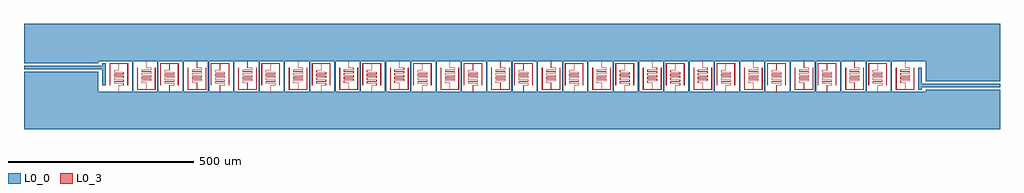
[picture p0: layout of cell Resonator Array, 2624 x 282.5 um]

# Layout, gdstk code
import gdstk
lib = gdstk.Library(unit=1e-6, precision=1e-09)
def P(c, l, *ps):  # polygons
    for p in ps: c.add(gdstk.Polygon(p, *l))
L0_0 = (0, 0)
L0_3 = (0, 3)

resonator_array = lib.new_cell('Resonator Array')
P(resonator_array, L0_0, [(-35,0),(-45,0),(-45,-7.25),(-255,-7.25),(-255,-17.25),(-45,-17.25),(-45,-60),(-35,-60)],
  [(2159,-65.25),(2369,-65.25),(2369,-55.25),(2159,-55.25),(2159,-12.5),(2149,-12.5),(2149,-72.5),(2159,-72.5)],
  [(1055.5,5),(1055.5,105),(-255,105),(-255,-1.25),(-55,-1.25),(-55,5),(38.5,5),(103.5,5),(103.5,-77.5),(38.5,-77.5),(38.5,5),(106.5,5),(171.5,5),(171.5,-77.5),(106.5,-77.5),(106.5,5),(174.5,5),(239.5,5),(239.5,-77.5),(174.5,-77.5),(174.5,5),(242.5,5),(307.5,5),(307.5,-77.5),(242.5,-77.5),(242.5,5),(310.5,5),(375.5,5),(375.5,-77.5),(310.5,-77.5),(310.5,5),(378.5,5),(443.5,5),(443.5,-77.5),(378.5,-77.5),(378.5,5),(446.5,5),(511.5,5),(511.5,-77.5),(446.5,-77.5),(446.5,5),(514.5,5),(579.5,5),(579.5,-77.5),(514.5,-77.5),(514.5,5),(582.5,5),(647.5,5),(647.5,-77.5),(582.5,-77.5),(582.5,5),(650.5,5),(715.5,5),(715.5,-77.5),(650.5,-77.5),(650.5,5),(718.5,5),(783.5,5),(783.5,-77.5),(718.5,-77.5),(718.5,5),(786.5,5),(851.5,5),(851.5,-77.5),(786.5,-77.5),(786.5,5),(854.5,5),(919.5,5),(919.5,-77.5),(854.5,-77.5),(854.5,5),(922.5,5),(987.5,5),(987.5,-77.5),(922.5,-77.5),(922.5,5),(854.5,5),(786.5,5),(718.5,5),(650.5,5),(582.5,5),(514.5,5),(446.5,5),(378.5,5),(310.5,5),(242.5,5),(174.5,5),(106.5,5),(38.5,5),(-55,5),(35.5,5),(35.5,-77.5),(-55,-77.5),(-55,-23.25),(-255,-23.25),(-255,-177.5),(1055.5,-177.5),(1055.5,-77.5),(990.5,-77.5),(990.5,5)],
  [(1058.5,-77.5),(1058.5,5),(1123.5,5),(1123.5,-77.5),(1126.5,-77.5),(1126.5,5),(1191.5,5),(1191.5,-77.5),(1194.5,-77.5),(1194.5,5),(1259.5,5),(1259.5,-77.5),(1262.5,-77.5),(1262.5,5),(1327.5,5),(1327.5,-77.5),(1330.5,-77.5),(1330.5,5),(1395.5,5),(1395.5,-77.5),(1398.5,-77.5),(1398.5,5),(1463.5,5),(1463.5,-77.5),(1466.5,-77.5),(1466.5,5),(1531.5,5),(1531.5,-77.5),(1534.5,-77.5),(1534.5,5),(1599.5,5),(1599.5,-77.5),(1602.5,-77.5),(1602.5,5),(1667.5,5),(1667.5,-77.5),(1670.5,-77.5),(1670.5,5),(1735.5,5),(1735.5,-77.5),(1738.5,-77.5),(1738.5,5),(1803.5,5),(1803.5,-77.5),(1806.5,-77.5),(1806.5,5),(1871.5,5),(1871.5,-77.5),(1874.5,-77.5),(1874.5,5),(1939.5,5),(1939.5,-77.5),(1942.5,-77.5),(1942.5,5),(2007.5,5),(2007.5,-77.5),(2010.5,-77.5),(2010.5,5),(2075.5,5),(2075.5,-77.5),(1055.5,-77.5),(1055.5,-177.5),(2369,-177.5),(2369,-71.25),(2169,-71.25),(2169,-77.5),(2078.5,-77.5),(2078.5,5),(2169,5),(2169,-49.25),(2369,-49.25),(2369,105),(1055.5,105),(1055.5,-77.5)])
P(resonator_array, L0_3, [(-25,-60),(-23,-60),(-23,-2),(23,-2),(23,-60),(25,-60),(25,0),(-25,0)],
  [(0.25,-2),(-0.25,-2),(-0.25,-19.5),(-13,-19.5),(-13,-25),(0,-25),(12.5,-25),(12.5,-29.5),(0,-29.5),(-13,-29.5),(-13,-35),(0,-35),(12.5,-35),(12.5,-39.5),(0,-39.5),(-13,-39.5),(-13,-45),(0,-45),(12.5,-45),(12.5,-49.5),(0,-49.5),(-13,-49.5),(-13,-55),(0,-55),(12.5,-55),(12.5,-59.5),(-0.25,-59.5),(-0.25,-77.5),(0.25,-77.5),(0.25,-60),(13,-60),(13,-54.5),(0,-54.5),(-12.5,-54.5),(-12.5,-50),(0,-50),(13,-50),(13,-44.5),(0,-44.5),(-12.5,-44.5),(-12.5,-40),(0,-40),(13,-40),(13,-34.5),(0,-34.5),(-12.5,-34.5),(-12.5,-30),(0,-30),(13,-30),(13,-24.5),(0,-24.5),(-12.5,-24.5),(-12.5,-20),(0.25,-20)],
  [(51,-12.5),(49,-12.5),(49,-72.5),(99,-72.5),(99,-12.5),(97,-12.5),(97,-70.5),(51,-70.5)],
  [(73.75,-70.5),(74.25,-70.5),(74.25,-52.5),(61.5,-52.5),(61.5,-48),(74,-48),(87,-48),(87,-42.5),(74,-42.5),(61.5,-42.5),(61.5,-38),(74,-38),(87,-38),(87,-32.5),(74,-32.5),(61.5,-32.5),(61.5,-28),(74,-28),(87,-28),(87,-22.5),(74,-22.5),(61.5,-22.5),(61.5,-18),(74,-18),(87,-18),(87,-12.5),(74.25,-12.5),(74.25,5),(73.75,5),(73.75,-13),(86.5,-13),(86.5,-17.5),(74,-17.5),(61,-17.5),(61,-23),(74,-23),(86.5,-23),(86.5,-27.5),(74,-27.5),(61,-27.5),(61,-33),(74,-33),(86.5,-33),(86.5,-37.5),(74,-37.5),(61,-37.5),(61,-43),(74,-43),(86.5,-43),(86.5,-47.5),(74,-47.5),(61,-47.5),(61,-53),(73.75,-53)],
  [(111,-60),(113,-60),(113,-2),(159,-2),(159,-60),(161,-60),(161,0),(111,0)],
  [(136.25,-2),(135.75,-2),(135.75,-19.5),(123,-19.5),(123,-25),(136,-25),(148.5,-25),(148.5,-29.5),(136,-29.5),(123,-29.5),(123,-35),(136,-35),(148.5,-35),(148.5,-39.5),(136,-39.5),(123,-39.5),(123,-45),(136,-45),(148.5,-45),(148.5,-49.5),(136,-49.5),(123,-49.5),(123,-55),(136,-55),(148.5,-55),(148.5,-59.5),(135.75,-59.5),(135.75,-77.5),(136.25,-77.5),(136.25,-60),(149,-60),(149,-54.5),(136,-54.5),(123.5,-54.5),(123.5,-50),(136,-50),(149,-50),(149,-44.5),(136,-44.5),(123.5,-44.5),(123.5,-40),(136,-40),(149,-40),(149,-34.5),(136,-34.5),(123.5,-34.5),(123.5,-30),(136,-30),(149,-30),(149,-24.5),(136,-24.5),(123.5,-24.5),(123.5,-20),(136.25,-20)],
  [(187,-12.5),(185,-12.5),(185,-72.5),(235,-72.5),(235,-12.5),(233,-12.5),(233,-70.5),(187,-70.5)],
  [(209.75,-70.5),(210.25,-70.5),(210.25,-52.5),(197.5,-52.5),(197.5,-48),(210,-48),(223,-48),(223,-42.5),(210,-42.5),(197.5,-42.5),(197.5,-38),(210,-38),(223,-38),(223,-32.5),(210,-32.5),(197.5,-32.5),(197.5,-28),(210,-28),(223,-28),(223,-22.5),(210,-22.5),(197.5,-22.5),(197.5,-18),(210,-18),(223,-18),(223,-12.5),(210.25,-12.5),(210.25,5),(209.75,5),(209.75,-13),(222.5,-13),(222.5,-17.5),(210,-17.5),(197,-17.5),(197,-23),(210,-23),(222.5,-23),(222.5,-27.5),(210,-27.5),(197,-27.5),(197,-33),(210,-33),(222.5,-33),(222.5,-37.5),(210,-37.5),(197,-37.5),(197,-43),(210,-43),(222.5,-43),(222.5,-47.5),(210,-47.5),(197,-47.5),(197,-53),(209.75,-53)],
  [(247,-60),(249,-60),(249,-2),(295,-2),(295,-60),(297,-60),(297,0),(247,0)],
  [(272.25,-2),(271.75,-2),(271.75,-19.5),(259,-19.5),(259,-25),(272,-25),(284.5,-25),(284.5,-29.5),(272,-29.5),(259,-29.5),(259,-35),(272,-35),(284.5,-35),(284.5,-39.5),(272,-39.5),(259,-39.5),(259,-45),(272,-45),(284.5,-45),(284.5,-49.5),(272,-49.5),(259,-49.5),(259,-55),(272,-55),(284.5,-55),(284.5,-59.5),(271.75,-59.5),(271.75,-77.5),(272.25,-77.5),(272.25,-60),(285,-60),(285,-54.5),(272,-54.5),(259.5,-54.5),(259.5,-50),(272,-50),(285,-50),(285,-44.5),(272,-44.5),(259.5,-44.5),(259.5,-40),(272,-40),(285,-40),(285,-34.5),(272,-34.5),(259.5,-34.5),(259.5,-30),(272,-30),(285,-30),(285,-24.5),(272,-24.5),(259.5,-24.5),(259.5,-20),(272.25,-20)],
  [(323,-12.5),(321,-12.5),(321,-72.5),(371,-72.5),(371,-12.5),(369,-12.5),(369,-70.5),(323,-70.5)],
  [(345.75,-70.5),(346.25,-70.5),(346.25,-52.5),(333.5,-52.5),(333.5,-48),(346,-48),(359,-48),(359,-42.5),(346,-42.5),(333.5,-42.5),(333.5,-38),(346,-38),(359,-38),(359,-32.5),(346,-32.5),(333.5,-32.5),(333.5,-28),(346,-28),(359,-28),(359,-22.5),(346,-22.5),(333.5,-22.5),(333.5,-18),(346,-18),(359,-18),(359,-12.5),(346.25,-12.5),(346.25,5),(345.75,5),(345.75,-13),(358.5,-13),(358.5,-17.5),(346,-17.5),(333,-17.5),(333,-23),(346,-23),(358.5,-23),(358.5,-27.5),(346,-27.5),(333,-27.5),(333,-33),(346,-33),(358.5,-33),(358.5,-37.5),(346,-37.5),(333,-37.5),(333,-43),(346,-43),(358.5,-43),(358.5,-47.5),(346,-47.5),(333,-47.5),(333,-53),(345.75,-53)],
  [(383,-60),(385,-60),(385,-2),(431,-2),(431,-60),(433,-60),(433,0),(383,0)],
  [(408.25,-2),(407.75,-2),(407.75,-19.5),(395,-19.5),(395,-25),(408,-25),(420.5,-25),(420.5,-29.5),(408,-29.5),(395,-29.5),(395,-35),(408,-35),(420.5,-35),(420.5,-39.5),(408,-39.5),(395,-39.5),(395,-45),(408,-45),(420.5,-45),(420.5,-49.5),(408,-49.5),(395,-49.5),(395,-55),(408,-55),(420.5,-55),(420.5,-59.5),(407.75,-59.5),(407.75,-77.5),(408.25,-77.5),(408.25,-60),(421,-60),(421,-54.5),(408,-54.5),(395.5,-54.5),(395.5,-50),(408,-50),(421,-50),(421,-44.5),(408,-44.5),(395.5,-44.5),(395.5,-40),(408,-40),(421,-40),(421,-34.5),(408,-34.5),(395.5,-34.5),(395.5,-30),(408,-30),(421,-30),(421,-24.5),(408,-24.5),(395.5,-24.5),(395.5,-20),(408.25,-20)],
  [(459,-12.5),(457,-12.5),(457,-72.5),(507,-72.5),(507,-12.5),(505,-12.5),(505,-70.5),(459,-70.5)],
  [(481.75,-70.5),(482.25,-70.5),(482.25,-52.5),(469.5,-52.5),(469.5,-48),(482,-48),(495,-48),(495,-42.5),(482,-42.5),(469.5,-42.5),(469.5,-38),(482,-38),(495,-38),(495,-32.5),(482,-32.5),(469.5,-32.5),(469.5,-28),(482,-28),(495,-28),(495,-22.5),(482,-22.5),(469.5,-22.5),(469.5,-18),(482,-18),(495,-18),(495,-12.5),(482.25,-12.5),(482.25,5),(481.75,5),(481.75,-13),(494.5,-13),(494.5,-17.5),(482,-17.5),(469,-17.5),(469,-23),(482,-23),(494.5,-23),(494.5,-27.5),(482,-27.5),(469,-27.5),(469,-33),(482,-33),(494.5,-33),(494.5,-37.5),(482,-37.5),(469,-37.5),(469,-43),(482,-43),(494.5,-43),(494.5,-47.5),(482,-47.5),(469,-47.5),(469,-53),(481.75,-53)],
  [(519,-60),(521,-60),(521,-2),(567,-2),(567,-60),(569,-60),(569,0),(519,0)],
  [(544.25,-2),(543.75,-2),(543.75,-19.5),(531,-19.5),(531,-25),(544,-25),(556.5,-25),(556.5,-29.5),(544,-29.5),(531,-29.5),(531,-35),(544,-35),(556.5,-35),(556.5,-39.5),(544,-39.5),(531,-39.5),(531,-45),(544,-45),(556.5,-45),(556.5,-49.5),(544,-49.5),(531,-49.5),(531,-55),(544,-55),(556.5,-55),(556.5,-59.5),(543.75,-59.5),(543.75,-77.5),(544.25,-77.5),(544.25,-60),(557,-60),(557,-54.5),(544,-54.5),(531.5,-54.5),(531.5,-50),(544,-50),(557,-50),(557,-44.5),(544,-44.5),(531.5,-44.5),(531.5,-40),(544,-40),(557,-40),(557,-34.5),(544,-34.5),(531.5,-34.5),(531.5,-30),(544,-30),(557,-30),(557,-24.5),(544,-24.5),(531.5,-24.5),(531.5,-20),(544.25,-20)],
  [(595,-12.5),(593,-12.5),(593,-72.5),(643,-72.5),(643,-12.5),(641,-12.5),(641,-70.5),(595,-70.5)],
  [(617.75,-70.5),(618.25,-70.5),(618.25,-52.5),(605.5,-52.5),(605.5,-48),(618,-48),(631,-48),(631,-42.5),(618,-42.5),(605.5,-42.5),(605.5,-38),(618,-38),(631,-38),(631,-32.5),(618,-32.5),(605.5,-32.5),(605.5,-28),(618,-28),(631,-28),(631,-22.5),(618,-22.5),(605.5,-22.5),(605.5,-18),(618,-18),(631,-18),(631,-12.5),(618.25,-12.5),(618.25,5),(617.75,5),(617.75,-13),(630.5,-13),(630.5,-17.5),(618,-17.5),(605,-17.5),(605,-23),(618,-23),(630.5,-23),(630.5,-27.5),(618,-27.5),(605,-27.5),(605,-33),(618,-33),(630.5,-33),(630.5,-37.5),(618,-37.5),(605,-37.5),(605,-43),(618,-43),(630.5,-43),(630.5,-47.5),(618,-47.5),(605,-47.5),(605,-53),(617.75,-53)],
  [(655,-60),(657,-60),(657,-2),(703,-2),(703,-60),(705,-60),(705,0),(655,0)],
  [(680.25,-2),(679.75,-2),(679.75,-19.5),(667,-19.5),(667,-25),(680,-25),(692.5,-25),(692.5,-29.5),(680,-29.5),(667,-29.5),(667,-35),(680,-35),(692.5,-35),(692.5,-39.5),(680,-39.5),(667,-39.5),(667,-45),(680,-45),(692.5,-45),(692.5,-49.5),(680,-49.5),(667,-49.5),(667,-55),(680,-55),(692.5,-55),(692.5,-59.5),(679.75,-59.5),(679.75,-77.5),(680.25,-77.5),(680.25,-60),(693,-60),(693,-54.5),(680,-54.5),(667.5,-54.5),(667.5,-50),(680,-50),(693,-50),(693,-44.5),(680,-44.5),(667.5,-44.5),(667.5,-40),(680,-40),(693,-40),(693,-34.5),(680,-34.5),(667.5,-34.5),(667.5,-30),(680,-30),(693,-30),(693,-24.5),(680,-24.5),(667.5,-24.5),(667.5,-20),(680.25,-20)],
  [(731,-12.5),(729,-12.5),(729,-72.5),(779,-72.5),(779,-12.5),(777,-12.5),(777,-70.5),(731,-70.5)],
  [(753.75,-70.5),(754.25,-70.5),(754.25,-52.5),(741.5,-52.5),(741.5,-48),(754,-48),(767,-48),(767,-42.5),(754,-42.5),(741.5,-42.5),(741.5,-38),(754,-38),(767,-38),(767,-32.5),(754,-32.5),(741.5,-32.5),(741.5,-28),(754,-28),(767,-28),(767,-22.5),(754,-22.5),(741.5,-22.5),(741.5,-18),(754,-18),(767,-18),(767,-12.5),(754.25,-12.5),(754.25,5),(753.75,5),(753.75,-13),(766.5,-13),(766.5,-17.5),(754,-17.5),(741,-17.5),(741,-23),(754,-23),(766.5,-23),(766.5,-27.5),(754,-27.5),(741,-27.5),(741,-33),(754,-33),(766.5,-33),(766.5,-37.5),(754,-37.5),(741,-37.5),(741,-43),(754,-43),(766.5,-43),(766.5,-47.5),(754,-47.5),(741,-47.5),(741,-53),(753.75,-53)],
  [(791,-60),(793,-60),(793,-2),(839,-2),(839,-60),(841,-60),(841,0),(791,0)],
  [(816.25,-2),(815.75,-2),(815.75,-19.5),(803,-19.5),(803,-25),(816,-25),(828.5,-25),(828.5,-29.5),(816,-29.5),(803,-29.5),(803,-35),(816,-35),(828.5,-35),(828.5,-39.5),(816,-39.5),(803,-39.5),(803,-45),(816,-45),(828.5,-45),(828.5,-49.5),(816,-49.5),(803,-49.5),(803,-55),(816,-55),(828.5,-55),(828.5,-59.5),(815.75,-59.5),(815.75,-77.5),(816.25,-77.5),(816.25,-60),(829,-60),(829,-54.5),(816,-54.5),(803.5,-54.5),(803.5,-50),(816,-50),(829,-50),(829,-44.5),(816,-44.5),(803.5,-44.5),(803.5,-40),(816,-40),(829,-40),(829,-34.5),(816,-34.5),(803.5,-34.5),(803.5,-30),(816,-30),(829,-30),(829,-24.5),(816,-24.5),(803.5,-24.5),(803.5,-20),(816.25,-20)],
  [(867,-12.5),(865,-12.5),(865,-72.5),(915,-72.5),(915,-12.5),(913,-12.5),(913,-70.5),(867,-70.5)],
  [(889.75,-70.5),(890.25,-70.5),(890.25,-52.5),(877.5,-52.5),(877.5,-48),(890,-48),(903,-48),(903,-42.5),(890,-42.5),(877.5,-42.5),(877.5,-38),(890,-38),(903,-38),(903,-32.5),(890,-32.5),(877.5,-32.5),(877.5,-28),(890,-28),(903,-28),(903,-22.5),(890,-22.5),(877.5,-22.5),(877.5,-18),(890,-18),(903,-18),(903,-12.5),(890.25,-12.5),(890.25,5),(889.75,5),(889.75,-13),(902.5,-13),(902.5,-17.5),(890,-17.5),(877,-17.5),(877,-23),(890,-23),(902.5,-23),(902.5,-27.5),(890,-27.5),(877,-27.5),(877,-33),(890,-33),(902.5,-33),(902.5,-37.5),(890,-37.5),(877,-37.5),(877,-43),(890,-43),(902.5,-43),(902.5,-47.5),(890,-47.5),(877,-47.5),(877,-53),(889.75,-53)],
  [(927,-60),(929,-60),(929,-2),(975,-2),(975,-60),(977,-60),(977,0),(927,0)],
  [(952.25,-2),(951.75,-2),(951.75,-19.5),(939,-19.5),(939,-25),(952,-25),(964.5,-25),(964.5,-29.5),(952,-29.5),(939,-29.5),(939,-35),(952,-35),(964.5,-35),(964.5,-39.5),(952,-39.5),(939,-39.5),(939,-45),(952,-45),(964.5,-45),(964.5,-49.5),(952,-49.5),(939,-49.5),(939,-55),(952,-55),(964.5,-55),(964.5,-59.5),(951.75,-59.5),(951.75,-77.5),(952.25,-77.5),(952.25,-60),(965,-60),(965,-54.5),(952,-54.5),(939.5,-54.5),(939.5,-50),(952,-50),(965,-50),(965,-44.5),(952,-44.5),(939.5,-44.5),(939.5,-40),(952,-40),(965,-40),(965,-34.5),(952,-34.5),(939.5,-34.5),(939.5,-30),(952,-30),(965,-30),(965,-24.5),(952,-24.5),(939.5,-24.5),(939.5,-20),(952.25,-20)],
  [(1003,-12.5),(1001,-12.5),(1001,-72.5),(1051,-72.5),(1051,-12.5),(1049,-12.5),(1049,-70.5),(1003,-70.5)],
  [(1025.75,-70.5),(1026.25,-70.5),(1026.25,-52.5),(1013.5,-52.5),(1013.5,-48),(1026,-48),(1039,-48),(1039,-42.5),(1026,-42.5),(1013.5,-42.5),(1013.5,-38),(1026,-38),(1039,-38),(1039,-32.5),(1026,-32.5),(1013.5,-32.5),(1013.5,-28),(1026,-28),(1039,-28),(1039,-22.5),(1026,-22.5),(1013.5,-22.5),(1013.5,-18),(1026,-18),(1039,-18),(1039,-12.5),(1026.25,-12.5),(1026.25,5),(1025.75,5),(1025.75,-13),(1038.5,-13),(1038.5,-17.5),(1026,-17.5),(1013,-17.5),(1013,-23),(1026,-23),(1038.5,-23),(1038.5,-27.5),(1026,-27.5),(1013,-27.5),(1013,-33),(1026,-33),(1038.5,-33),(1038.5,-37.5),(1026,-37.5),(1013,-37.5),(1013,-43),(1026,-43),(1038.5,-43),(1038.5,-47.5),(1026,-47.5),(1013,-47.5),(1013,-53),(1025.75,-53)],
  [(1063,-60),(1065,-60),(1065,-2),(1111,-2),(1111,-60),(1113,-60),(1113,0),(1063,0)],
  [(1088.25,-2),(1087.75,-2),(1087.75,-19.5),(1075,-19.5),(1075,-25),(1088,-25),(1100.5,-25),(1100.5,-29.5),(1088,-29.5),(1075,-29.5),(1075,-35),(1088,-35),(1100.5,-35),(1100.5,-39.5),(1088,-39.5),(1075,-39.5),(1075,-45),(1088,-45),(1100.5,-45),(1100.5,-49.5),(1088,-49.5),(1075,-49.5),(1075,-55),(1088,-55),(1100.5,-55),(1100.5,-59.5),(1087.75,-59.5),(1087.75,-77.5),(1088.25,-77.5),(1088.25,-60),(1101,-60),(1101,-54.5),(1088,-54.5),(1075.5,-54.5),(1075.5,-50),(1088,-50),(1101,-50),(1101,-44.5),(1088,-44.5),(1075.5,-44.5),(1075.5,-40),(1088,-40),(1101,-40),(1101,-34.5),(1088,-34.5),(1075.5,-34.5),(1075.5,-30),(1088,-30),(1101,-30),(1101,-24.5),(1088,-24.5),(1075.5,-24.5),(1075.5,-20),(1088.25,-20)],
  [(1139,-12.5),(1137,-12.5),(1137,-72.5),(1187,-72.5),(1187,-12.5),(1185,-12.5),(1185,-70.5),(1139,-70.5)],
  [(1161.75,-70.5),(1162.25,-70.5),(1162.25,-52.5),(1149.5,-52.5),(1149.5,-48),(1162,-48),(1175,-48),(1175,-42.5),(1162,-42.5),(1149.5,-42.5),(1149.5,-38),(1162,-38),(1175,-38),(1175,-32.5),(1162,-32.5),(1149.5,-32.5),(1149.5,-28),(1162,-28),(1175,-28),(1175,-22.5),(1162,-22.5),(1149.5,-22.5),(1149.5,-18),(1162,-18),(1175,-18),(1175,-12.5),(1162.25,-12.5),(1162.25,5),(1161.75,5),(1161.75,-13),(1174.5,-13),(1174.5,-17.5),(1162,-17.5),(1149,-17.5),(1149,-23),(1162,-23),(1174.5,-23),(1174.5,-27.5),(1162,-27.5),(1149,-27.5),(1149,-33),(1162,-33),(1174.5,-33),(1174.5,-37.5),(1162,-37.5),(1149,-37.5),(1149,-43),(1162,-43),(1174.5,-43),(1174.5,-47.5),(1162,-47.5),(1149,-47.5),(1149,-53),(1161.75,-53)],
  [(1199,-60),(1201,-60),(1201,-2),(1247,-2),(1247,-60),(1249,-60),(1249,0),(1199,0)],
  [(1224.25,-2),(1223.75,-2),(1223.75,-19.5),(1211,-19.5),(1211,-25),(1224,-25),(1236.5,-25),(1236.5,-29.5),(1224,-29.5),(1211,-29.5),(1211,-35),(1224,-35),(1236.5,-35),(1236.5,-39.5),(1224,-39.5),(1211,-39.5),(1211,-45),(1224,-45),(1236.5,-45),(1236.5,-49.5),(1224,-49.5),(1211,-49.5),(1211,-55),(1224,-55),(1236.5,-55),(1236.5,-59.5),(1223.75,-59.5),(1223.75,-77.5),(1224.25,-77.5),(1224.25,-60),(1237,-60),(1237,-54.5),(1224,-54.5),(1211.5,-54.5),(1211.5,-50),(1224,-50),(1237,-50),(1237,-44.5),(1224,-44.5),(1211.5,-44.5),(1211.5,-40),(1224,-40),(1237,-40),(1237,-34.5),(1224,-34.5),(1211.5,-34.5),(1211.5,-30),(1224,-30),(1237,-30),(1237,-24.5),(1224,-24.5),(1211.5,-24.5),(1211.5,-20),(1224.25,-20)],
  [(1275,-12.5),(1273,-12.5),(1273,-72.5),(1323,-72.5),(1323,-12.5),(1321,-12.5),(1321,-70.5),(1275,-70.5)],
  [(1297.75,-70.5),(1298.25,-70.5),(1298.25,-52.5),(1285.5,-52.5),(1285.5,-48),(1298,-48),(1311,-48),(1311,-42.5),(1298,-42.5),(1285.5,-42.5),(1285.5,-38),(1298,-38),(1311,-38),(1311,-32.5),(1298,-32.5),(1285.5,-32.5),(1285.5,-28),(1298,-28),(1311,-28),(1311,-22.5),(1298,-22.5),(1285.5,-22.5),(1285.5,-18),(1298,-18),(1311,-18),(1311,-12.5),(1298.25,-12.5),(1298.25,5),(1297.75,5),(1297.75,-13),(1310.5,-13),(1310.5,-17.5),(1298,-17.5),(1285,-17.5),(1285,-23),(1298,-23),(1310.5,-23),(1310.5,-27.5),(1298,-27.5),(1285,-27.5),(1285,-33),(1298,-33),(1310.5,-33),(1310.5,-37.5),(1298,-37.5),(1285,-37.5),(1285,-43),(1298,-43),(1310.5,-43),(1310.5,-47.5),(1298,-47.5),(1285,-47.5),(1285,-53),(1297.75,-53)],
  [(1335,-60),(1337,-60),(1337,-2),(1383,-2),(1383,-60),(1385,-60),(1385,0),(1335,0)],
  [(1360.25,-2),(1359.75,-2),(1359.75,-19.5),(1347,-19.5),(1347,-25),(1360,-25),(1372.5,-25),(1372.5,-29.5),(1360,-29.5),(1347,-29.5),(1347,-35),(1360,-35),(1372.5,-35),(1372.5,-39.5),(1360,-39.5),(1347,-39.5),(1347,-45),(1360,-45),(1372.5,-45),(1372.5,-49.5),(1360,-49.5),(1347,-49.5),(1347,-55),(1360,-55),(1372.5,-55),(1372.5,-59.5),(1359.75,-59.5),(1359.75,-77.5),(1360.25,-77.5),(1360.25,-60),(1373,-60),(1373,-54.5),(1360,-54.5),(1347.5,-54.5),(1347.5,-50),(1360,-50),(1373,-50),(1373,-44.5),(1360,-44.5),(1347.5,-44.5),(1347.5,-40),(1360,-40),(1373,-40),(1373,-34.5),(1360,-34.5),(1347.5,-34.5),(1347.5,-30),(1360,-30),(1373,-30),(1373,-24.5),(1360,-24.5),(1347.5,-24.5),(1347.5,-20),(1360.25,-20)],
  [(1411,-12.5),(1409,-12.5),(1409,-72.5),(1459,-72.5),(1459,-12.5),(1457,-12.5),(1457,-70.5),(1411,-70.5)],
  [(1433.75,-70.5),(1434.25,-70.5),(1434.25,-52.5),(1421.5,-52.5),(1421.5,-48),(1434,-48),(1447,-48),(1447,-42.5),(1434,-42.5),(1421.5,-42.5),(1421.5,-38),(1434,-38),(1447,-38),(1447,-32.5),(1434,-32.5),(1421.5,-32.5),(1421.5,-28),(1434,-28),(1447,-28),(1447,-22.5),(1434,-22.5),(1421.5,-22.5),(1421.5,-18),(1434,-18),(1447,-18),(1447,-12.5),(1434.25,-12.5),(1434.25,5),(1433.75,5),(1433.75,-13),(1446.5,-13),(1446.5,-17.5),(1434,-17.5),(1421,-17.5),(1421,-23),(1434,-23),(1446.5,-23),(1446.5,-27.5),(1434,-27.5),(1421,-27.5),(1421,-33),(1434,-33),(1446.5,-33),(1446.5,-37.5),(1434,-37.5),(1421,-37.5),(1421,-43),(1434,-43),(1446.5,-43),(1446.5,-47.5),(1434,-47.5),(1421,-47.5),(1421,-53),(1433.75,-53)],
  [(1471,-60),(1473,-60),(1473,-2),(1519,-2),(1519,-60),(1521,-60),(1521,0),(1471,0)],
  [(1496.25,-2),(1495.75,-2),(1495.75,-19.5),(1483,-19.5),(1483,-25),(1496,-25),(1508.5,-25),(1508.5,-29.5),(1496,-29.5),(1483,-29.5),(1483,-35),(1496,-35),(1508.5,-35),(1508.5,-39.5),(1496,-39.5),(1483,-39.5),(1483,-45),(1496,-45),(1508.5,-45),(1508.5,-49.5),(1496,-49.5),(1483,-49.5),(1483,-55),(1496,-55),(1508.5,-55),(1508.5,-59.5),(1495.75,-59.5),(1495.75,-77.5),(1496.25,-77.5),(1496.25,-60),(1509,-60),(1509,-54.5),(1496,-54.5),(1483.5,-54.5),(1483.5,-50),(1496,-50),(1509,-50),(1509,-44.5),(1496,-44.5),(1483.5,-44.5),(1483.5,-40),(1496,-40),(1509,-40),(1509,-34.5),(1496,-34.5),(1483.5,-34.5),(1483.5,-30),(1496,-30),(1509,-30),(1509,-24.5),(1496,-24.5),(1483.5,-24.5),(1483.5,-20),(1496.25,-20)],
  [(1547,-12.5),(1545,-12.5),(1545,-72.5),(1595,-72.5),(1595,-12.5),(1593,-12.5),(1593,-70.5),(1547,-70.5)],
  [(1569.75,-70.5),(1570.25,-70.5),(1570.25,-52.5),(1557.5,-52.5),(1557.5,-48),(1570,-48),(1583,-48),(1583,-42.5),(1570,-42.5),(1557.5,-42.5),(1557.5,-38),(1570,-38),(1583,-38),(1583,-32.5),(1570,-32.5),(1557.5,-32.5),(1557.5,-28),(1570,-28),(1583,-28),(1583,-22.5),(1570,-22.5),(1557.5,-22.5),(1557.5,-18),(1570,-18),(1583,-18),(1583,-12.5),(1570.25,-12.5),(1570.25,5),(1569.75,5),(1569.75,-13),(1582.5,-13),(1582.5,-17.5),(1570,-17.5),(1557,-17.5),(1557,-23),(1570,-23),(1582.5,-23),(1582.5,-27.5),(1570,-27.5),(1557,-27.5),(1557,-33),(1570,-33),(1582.5,-33),(1582.5,-37.5),(1570,-37.5),(1557,-37.5),(1557,-43),(1570,-43),(1582.5,-43),(1582.5,-47.5),(1570,-47.5),(1557,-47.5),(1557,-53),(1569.75,-53)],
  [(1607,-60),(1609,-60),(1609,-2),(1655,-2),(1655,-60),(1657,-60),(1657,0),(1607,0)],
  [(1632.25,-2),(1631.75,-2),(1631.75,-19.5),(1619,-19.5),(1619,-25),(1632,-25),(1644.5,-25),(1644.5,-29.5),(1632,-29.5),(1619,-29.5),(1619,-35),(1632,-35),(1644.5,-35),(1644.5,-39.5),(1632,-39.5),(1619,-39.5),(1619,-45),(1632,-45),(1644.5,-45),(1644.5,-49.5),(1632,-49.5),(1619,-49.5),(1619,-55),(1632,-55),(1644.5,-55),(1644.5,-59.5),(1631.75,-59.5),(1631.75,-77.5),(1632.25,-77.5),(1632.25,-60),(1645,-60),(1645,-54.5),(1632,-54.5),(1619.5,-54.5),(1619.5,-50),(1632,-50),(1645,-50),(1645,-44.5),(1632,-44.5),(1619.5,-44.5),(1619.5,-40),(1632,-40),(1645,-40),(1645,-34.5),(1632,-34.5),(1619.5,-34.5),(1619.5,-30),(1632,-30),(1645,-30),(1645,-24.5),(1632,-24.5),(1619.5,-24.5),(1619.5,-20),(1632.25,-20)],
  [(1683,-12.5),(1681,-12.5),(1681,-72.5),(1731,-72.5),(1731,-12.5),(1729,-12.5),(1729,-70.5),(1683,-70.5)],
  [(1705.75,-70.5),(1706.25,-70.5),(1706.25,-52.5),(1693.5,-52.5),(1693.5,-48),(1706,-48),(1719,-48),(1719,-42.5),(1706,-42.5),(1693.5,-42.5),(1693.5,-38),(1706,-38),(1719,-38),(1719,-32.5),(1706,-32.5),(1693.5,-32.5),(1693.5,-28),(1706,-28),(1719,-28),(1719,-22.5),(1706,-22.5),(1693.5,-22.5),(1693.5,-18),(1706,-18),(1719,-18),(1719,-12.5),(1706.25,-12.5),(1706.25,5),(1705.75,5),(1705.75,-13),(1718.5,-13),(1718.5,-17.5),(1706,-17.5),(1693,-17.5),(1693,-23),(1706,-23),(1718.5,-23),(1718.5,-27.5),(1706,-27.5),(1693,-27.5),(1693,-33),(1706,-33),(1718.5,-33),(1718.5,-37.5),(1706,-37.5),(1693,-37.5),(1693,-43),(1706,-43),(1718.5,-43),(1718.5,-47.5),(1706,-47.5),(1693,-47.5),(1693,-53),(1705.75,-53)],
  [(1743,-60),(1745,-60),(1745,-2),(1791,-2),(1791,-60),(1793,-60),(1793,0),(1743,0)],
  [(1768.25,-2),(1767.75,-2),(1767.75,-19.5),(1755,-19.5),(1755,-25),(1768,-25),(1780.5,-25),(1780.5,-29.5),(1768,-29.5),(1755,-29.5),(1755,-35),(1768,-35),(1780.5,-35),(1780.5,-39.5),(1768,-39.5),(1755,-39.5),(1755,-45),(1768,-45),(1780.5,-45),(1780.5,-49.5),(1768,-49.5),(1755,-49.5),(1755,-55),(1768,-55),(1780.5,-55),(1780.5,-59.5),(1767.75,-59.5),(1767.75,-77.5),(1768.25,-77.5),(1768.25,-60),(1781,-60),(1781,-54.5),(1768,-54.5),(1755.5,-54.5),(1755.5,-50),(1768,-50),(1781,-50),(1781,-44.5),(1768,-44.5),(1755.5,-44.5),(1755.5,-40),(1768,-40),(1781,-40),(1781,-34.5),(1768,-34.5),(1755.5,-34.5),(1755.5,-30),(1768,-30),(1781,-30),(1781,-24.5),(1768,-24.5),(1755.5,-24.5),(1755.5,-20),(1768.25,-20)],
  [(1819,-12.5),(1817,-12.5),(1817,-72.5),(1867,-72.5),(1867,-12.5),(1865,-12.5),(1865,-70.5),(1819,-70.5)],
  [(1841.75,-70.5),(1842.25,-70.5),(1842.25,-52.5),(1829.5,-52.5),(1829.5,-48),(1842,-48),(1855,-48),(1855,-42.5),(1842,-42.5),(1829.5,-42.5),(1829.5,-38),(1842,-38),(1855,-38),(1855,-32.5),(1842,-32.5),(1829.5,-32.5),(1829.5,-28),(1842,-28),(1855,-28),(1855,-22.5),(1842,-22.5),(1829.5,-22.5),(1829.5,-18),(1842,-18),(1855,-18),(1855,-12.5),(1842.25,-12.5),(1842.25,5),(1841.75,5),(1841.75,-13),(1854.5,-13),(1854.5,-17.5),(1842,-17.5),(1829,-17.5),(1829,-23),(1842,-23),(1854.5,-23),(1854.5,-27.5),(1842,-27.5),(1829,-27.5),(1829,-33),(1842,-33),(1854.5,-33),(1854.5,-37.5),(1842,-37.5),(1829,-37.5),(1829,-43),(1842,-43),(1854.5,-43),(1854.5,-47.5),(1842,-47.5),(1829,-47.5),(1829,-53),(1841.75,-53)],
  [(1879,-60),(1881,-60),(1881,-2),(1927,-2),(1927,-60),(1929,-60),(1929,0),(1879,0)],
  [(1904.25,-2),(1903.75,-2),(1903.75,-19.5),(1891,-19.5),(1891,-25),(1904,-25),(1916.5,-25),(1916.5,-29.5),(1904,-29.5),(1891,-29.5),(1891,-35),(1904,-35),(1916.5,-35),(1916.5,-39.5),(1904,-39.5),(1891,-39.5),(1891,-45),(1904,-45),(1916.5,-45),(1916.5,-49.5),(1904,-49.5),(1891,-49.5),(1891,-55),(1904,-55),(1916.5,-55),(1916.5,-59.5),(1903.75,-59.5),(1903.75,-77.5),(1904.25,-77.5),(1904.25,-60),(1917,-60),(1917,-54.5),(1904,-54.5),(1891.5,-54.5),(1891.5,-50),(1904,-50),(1917,-50),(1917,-44.5),(1904,-44.5),(1891.5,-44.5),(1891.5,-40),(1904,-40),(1917,-40),(1917,-34.5),(1904,-34.5),(1891.5,-34.5),(1891.5,-30),(1904,-30),(1917,-30),(1917,-24.5),(1904,-24.5),(1891.5,-24.5),(1891.5,-20),(1904.25,-20)],
  [(1955,-12.5),(1953,-12.5),(1953,-72.5),(2003,-72.5),(2003,-12.5),(2001,-12.5),(2001,-70.5),(1955,-70.5)],
  [(1977.75,-70.5),(1978.25,-70.5),(1978.25,-52.5),(1965.5,-52.5),(1965.5,-48),(1978,-48),(1991,-48),(1991,-42.5),(1978,-42.5),(1965.5,-42.5),(1965.5,-38),(1978,-38),(1991,-38),(1991,-32.5),(1978,-32.5),(1965.5,-32.5),(1965.5,-28),(1978,-28),(1991,-28),(1991,-22.5),(1978,-22.5),(1965.5,-22.5),(1965.5,-18),(1978,-18),(1991,-18),(1991,-12.5),(1978.25,-12.5),(1978.25,5),(1977.75,5),(1977.75,-13),(1990.5,-13),(1990.5,-17.5),(1978,-17.5),(1965,-17.5),(1965,-23),(1978,-23),(1990.5,-23),(1990.5,-27.5),(1978,-27.5),(1965,-27.5),(1965,-33),(1978,-33),(1990.5,-33),(1990.5,-37.5),(1978,-37.5),(1965,-37.5),(1965,-43),(1978,-43),(1990.5,-43),(1990.5,-47.5),(1978,-47.5),(1965,-47.5),(1965,-53),(1977.75,-53)],
  [(2015,-60),(2017,-60),(2017,-2),(2063,-2),(2063,-60),(2065,-60),(2065,0),(2015,0)],
  [(2040.25,-2),(2039.75,-2),(2039.75,-19.5),(2027,-19.5),(2027,-25),(2040,-25),(2052.5,-25),(2052.5,-29.5),(2040,-29.5),(2027,-29.5),(2027,-35),(2040,-35),(2052.5,-35),(2052.5,-39.5),(2040,-39.5),(2027,-39.5),(2027,-45),(2040,-45),(2052.5,-45),(2052.5,-49.5),(2040,-49.5),(2027,-49.5),(2027,-55),(2040,-55),(2052.5,-55),(2052.5,-59.5),(2039.75,-59.5),(2039.75,-77.5),(2040.25,-77.5),(2040.25,-60),(2053,-60),(2053,-54.5),(2040,-54.5),(2027.5,-54.5),(2027.5,-50),(2040,-50),(2053,-50),(2053,-44.5),(2040,-44.5),(2027.5,-44.5),(2027.5,-40),(2040,-40),(2053,-40),(2053,-34.5),(2040,-34.5),(2027.5,-34.5),(2027.5,-30),(2040,-30),(2053,-30),(2053,-24.5),(2040,-24.5),(2027.5,-24.5),(2027.5,-20),(2040.25,-20)],
  [(2091,-12.5),(2089,-12.5),(2089,-72.5),(2139,-72.5),(2139,-12.5),(2137,-12.5),(2137,-70.5),(2091,-70.5)],
  [(2113.75,-70.5),(2114.25,-70.5),(2114.25,-52.5),(2101.5,-52.5),(2101.5,-48),(2114,-48),(2127,-48),(2127,-42.5),(2114,-42.5),(2101.5,-42.5),(2101.5,-38),(2114,-38),(2127,-38),(2127,-32.5),(2114,-32.5),(2101.5,-32.5),(2101.5,-28),(2114,-28),(2127,-28),(2127,-22.5),(2114,-22.5),(2101.5,-22.5),(2101.5,-18),(2114,-18),(2127,-18),(2127,-12.5),(2114.25,-12.5),(2114.25,5),(2113.75,5),(2113.75,-13),(2126.5,-13),(2126.5,-17.5),(2114,-17.5),(2101,-17.5),(2101,-23),(2114,-23),(2126.5,-23),(2126.5,-27.5),(2114,-27.5),(2101,-27.5),(2101,-33),(2114,-33),(2126.5,-33),(2126.5,-37.5),(2114,-37.5),(2101,-37.5),(2101,-43),(2114,-43),(2126.5,-43),(2126.5,-47.5),(2114,-47.5),(2101,-47.5),(2101,-53),(2113.75,-53)])

lib.write_gds('Resonator_Array.gds')
